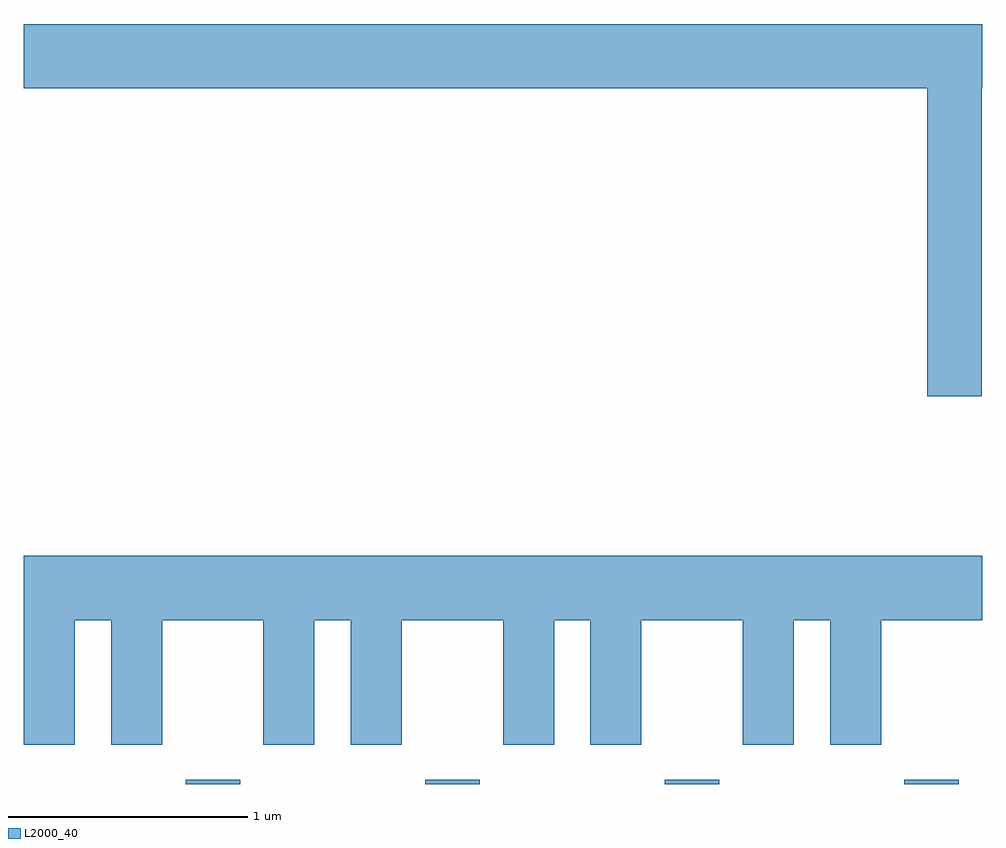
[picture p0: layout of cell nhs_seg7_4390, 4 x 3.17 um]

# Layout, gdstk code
import gdstk
lib = gdstk.Library(unit=1e-6, precision=1e-09)
def R(c, l, rs):  # rectangles x0, y0, x1, y1
    for r in rs: c.add(gdstk.rectangle(r[:2], r[2:], *l))
def A(c, l, x, y, w, h, nx, ny, dx, dy):  # array of equal rectangles
    R(c, l, [(x+i*dx, y+j*dy, x+i*dx+w, y+j*dy+h) for i in range(nx) for j in range(ny)])
def P(c, l, *ps):  # polygons
    for p in ps: c.add(gdstk.Polygon(p, *l))
L2000_40 = (2000, 40)

nhs_seg7_4390 = lib.new_cell('nhs_seg7_4390')
A(nhs_seg7_4390, L2000_40, 320.286, 1760.252, 0.228, 0.017, 4, 1, 1, 0)
P(nhs_seg7_4390, L2000_40, [(323.609,1763.156),(323.611,1763.156),(323.611,1763.424),(319.611,1763.424),(319.611,1763.156),(323.381,1763.156),(323.381,1761.871),(323.609,1761.871)],
  [(319.824,1760.936),(319.976,1760.936),(319.976,1760.416),(320.189,1760.416),(320.189,1760.936),(320.611,1760.936),(320.611,1760.416),(320.824,1760.416),(320.824,1760.936),(320.976,1760.936),(320.976,1760.416),(321.189,1760.416),(321.189,1760.936),(321.611,1760.936),(321.611,1760.416),(321.824,1760.416),(321.824,1760.936),(321.976,1760.936),(321.976,1760.416),(322.189,1760.416),(322.189,1760.936),(322.611,1760.936),(322.611,1760.416),(322.824,1760.416),(322.824,1760.936),(322.976,1760.936),(322.976,1760.416),(323.189,1760.416),(323.189,1760.936),(323.611,1760.936),(323.611,1761.204),(319.611,1761.204),(319.611,1760.416),(319.824,1760.416)])

lib.write_gds('nhs_seg7_4390.gds')
